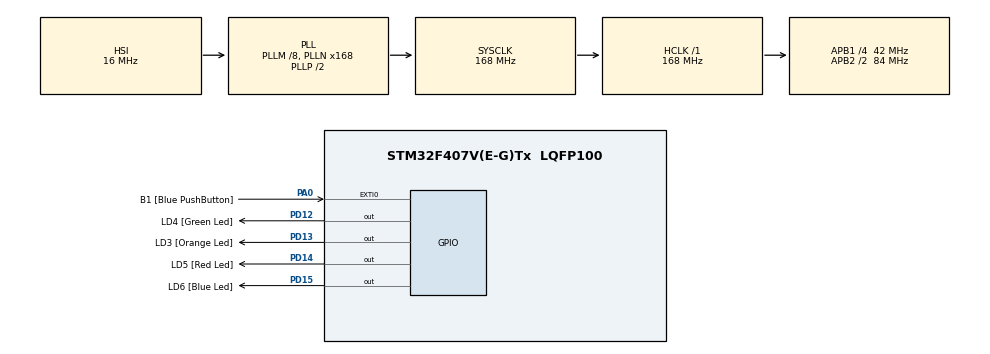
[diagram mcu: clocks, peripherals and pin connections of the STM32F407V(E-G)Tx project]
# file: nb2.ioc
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Mcu.Family=STM32F4
Mcu.Name=STM32F407V(E-G)Tx
Mcu.Package=LQFP100
NVIC.PriorityGroup=NVIC_PRIORITYGROUP_0
PA0-WKUP.GPIO_Label=B1 [Blue PushButton]
PA0-WKUP.GPIO_ModeDefaultEXTI=GPIO_MODE_EVT_RISING
PA0-WKUP.GPIO_PuPd=GPIO_NOPULL
PA0-WKUP.Signal=GPXTI0
PC14-OSC32_IN.GPIO_Label=PC14-OSC32_IN
PC14-OSC32_IN.Signal=RCC_OSC32_IN
PC15-OSC32_OUT.GPIO_Label=PC15-OSC32_OUT
PC15-OSC32_OUT.Signal=RCC_OSC32_OUT
PD12.GPIO_Label=LD4 [Green Led]
PD12.GPIO_PuPd=GPIO_PULLUP
PD12.GPIO_Speed=GPIO_SPEED_FREQ_LOW
PD12.Signal=GPIO_Output
PD13.GPIO_Label=LD3 [Orange Led]
PD13.GPIO_PuPd=GPIO_PULLUP
PD13.GPIO_Speed=GPIO_SPEED_FREQ_LOW
PD13.Signal=GPIO_Output
PD14.GPIO_Label=LD5 [Red Led]
PD14.GPIO_PuPd=GPIO_PULLUP
PD14.GPIO_Speed=GPIO_SPEED_FREQ_LOW
PD14.Signal=GPIO_Output
PD15.GPIO_Label=LD6 [Blue Led]
PD15.GPIO_PuPd=GPIO_PULLUP
PD15.GPIO_Speed=GPIO_SPEED_FREQ_LOW
PD15.Signal=GPIO_Output
PH0-OSC_IN.GPIO_Label=PH0-OSC_IN
PH0-OSC_IN.Signal=RCC_OSC_IN
PH1-OSC_OUT.GPIO_Label=PH1-OSC_OUT
PH1-OSC_OUT.Signal=RCC_OSC_OUT
ProjectManager.HeapSize=0x200
ProjectManager.StackSize=0x400
ProjectManager.TargetToolchain=SW4STM32
RCC.48MHZClocksFreq_Value=112000000
RCC.AHBFreq_Value=168000000
RCC.APB1CLKDivider=RCC_HCLK_DIV4
RCC.APB1Freq_Value=42000000
RCC.APB1TimFreq_Value=84000000
RCC.APB2CLKDivider=RCC_HCLK_DIV2
RCC.APB2Freq_Value=84000000
RCC.APB2TimFreq_Value=168000000
RCC.CortexFreq_Value=168000000
RCC.DATA_CACHE_ENABLE=0
RCC.HCLKFreq_Value=168000000
RCC.HSE_VALUE=8000000
RCC.HSI_VALUE=16000000
RCC.INSTRUCTION_CACHE_ENABLE=0
RCC.PLLI2SN=50
RCC.PLLM=8
RCC.PLLN=168
RCC.PLLQ=3
RCC.PREFETCH_ENABLE=0
RCC.SYSCLKFreq_VALUE=168000000
RCC.SYSCLKSource=RCC_SYSCLKSOURCE_PLLCLK
RCC.VCOOutputFreq_Value=336000000
board=STM32F4DISCOVERY

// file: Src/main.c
/* USER CODE BEGIN Header */
/**
  ******************************************************************************
  * @file           : main.c
  * @brief          : Main program body
  ******************************************************************************
  * @attention
  *
  * <h2><center>&copy; Copyright (c) 2019 STMicroelectronics.
  * All rights reserved.</center></h2>
  *
  * This software component is licensed by ST under Ultimate Liberty license
  * SLA0044, the "License"; You may not use this file except in compliance with
  * the License. You may obtain a copy of the License at:
  *                             www.st.com/SLA0044
  *
  ******************************************************************************
  */
/* USER CODE END Header */

#include "main.h"
#include "gpio.h"

void SystemClock_Config(void);

/* USER CODE BEGIN 0 */

void initAll()
{
    //Led
    GPIO_InitTypeDef led;

    __HAL_RCC_GPIOD_CLK_ENABLE(/*LL_AHB1_GRP1_PERIPH_GPIOG, ENABLE*/);
    led.Pin = GPIO_PIN_14;
    led.Mode = GPIO_MODE_OUTPUT_PP;
    led.Pull = GPIO_NOPULL;
    led.Speed = GPIO_SPEED_FREQ_HIGH;

    HAL_GPIO_Init(GPIOD, &led);

    //port.GPIO_Mode = GPIO_ModeIPD;

    //Button
    GPIO_InitTypeDef butt;
    __HAL_RCC_GPIOA_CLK_ENABLE(/*LL_AHB1_GRP1_PERIPH_GPIOA, ENABLE*/);
    butt.Pin = GPIO_PIN_0;
    butt.Mode = GPIO_MODE_INPUT;
    butt.Pull = GPIO_PULLDOWN;
    butt.Speed = GPIO_SPEED_FREQ_HIGH;

    HAL_GPIO_Init(GPIOA, &butt);

}
/* USER CODE END 0 */

int main(void)
{

  /* MCU Configuration--------------------------------------------------------*/

  /* Reset of all peripherals, Initializes the Flash interface and the Systick. */
  HAL_Init();

  /* Configure the system clock */
  SystemClock_Config();

  /* Initialize all configured peripherals */
  MX_GPIO_Init();

  /* Infinite loop */
  while (1)
  {

    /* USER CODE BEGIN 3 */
    HAL_GPIO_TogglePin(LD4_GPIO_Port, LD4_Pin);
    HAL_Delay(300);
    HAL_GPIO_TogglePin(LD5_GPIO_Port, LD5_Pin);
    HAL_Delay(300);
    HAL_GPIO_TogglePin(LD6_GPIO_Port, LD6_Pin);
    HAL_Delay(300);
    HAL_GPIO_TogglePin(LD3_GPIO_Port, LD3_Pin);
    HAL_Delay(300);
  }
  /* USER CODE END 3 */
}

void SystemClock_Config(void)
{
  RCC_OscInitTypeDef RCC_OscInitStruct = {0};
  RCC_ClkInitTypeDef RCC_ClkInitStruct = {0};

  /** Configure the main internal regulator output voltage
  */
  __HAL_RCC_PWR_CLK_ENABLE();
  __HAL_PWR_VOLTAGESCALING_CONFIG(PWR_REGULATOR_VOLTAGE_SCALE1);
  /** Initializes the CPU, AHB and APB busses clocks
  */
  RCC_OscInitStruct.OscillatorType = RCC_OSCILLATORTYPE_HSI;
  RCC_OscInitStruct.HSIState = RCC_HSI_ON;
  RCC_OscInitStruct.HSICalibrationValue = RCC_HSICALIBRATION_DEFAULT;
  RCC_OscInitStruct.PLL.PLLState = RCC_PLL_ON;
  RCC_OscInitStruct.PLL.PLLSource = RCC_PLLSOURCE_HSI;
  RCC_OscInitStruct.PLL.PLLM = 8;
  RCC_OscInitStruct.PLL.PLLN = 168;
  RCC_OscInitStruct.PLL.PLLP = RCC_PLLP_DIV2;
  RCC_OscInitStruct.PLL.PLLQ = 3;
  if (HAL_RCC_OscConfig(&RCC_OscInitStruct) != HAL_OK)
  {
    Error_Handler();
  }
  /** Initializes the CPU, AHB and APB busses clocks
  */
  RCC_ClkInitStruct.ClockType = RCC_CLOCKTYPE_HCLK|RCC_CLOCKTYPE_SYSCLK
                              |RCC_CLOCKTYPE_PCLK1|RCC_CLOCKTYPE_PCLK2;
  RCC_ClkInitStruct.SYSCLKSource = RCC_SYSCLKSOURCE_PLLCLK;
  RCC_ClkInitStruct.AHBCLKDivider = RCC_SYSCLK_DIV1;
  RCC_ClkInitStruct.APB1CLKDivider = RCC_HCLK_DIV4;
  RCC_ClkInitStruct.APB2CLKDivider = RCC_HCLK_DIV2;

  if (HAL_RCC_ClockConfig(&RCC_ClkInitStruct, FLASH_LATENCY_5) != HAL_OK)
  {
    Error_Handler();
  }
}

void Error_Handler(void)
{
}

/************************ (C) COPYRIGHT STMicroelectronics *****END OF FILE****/
